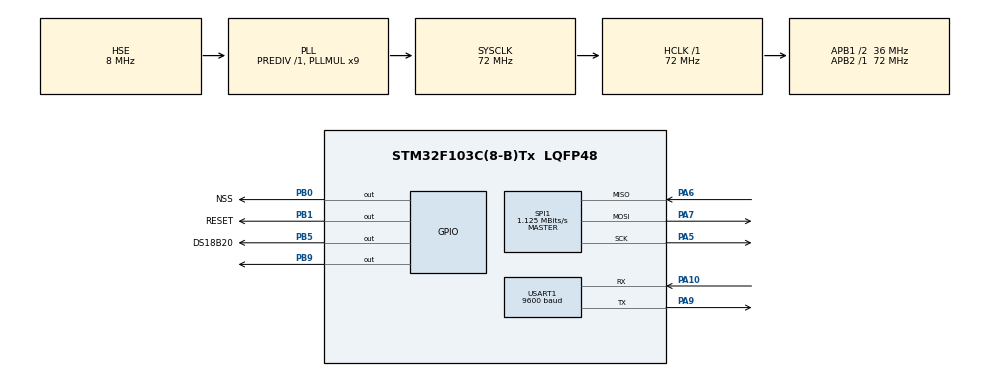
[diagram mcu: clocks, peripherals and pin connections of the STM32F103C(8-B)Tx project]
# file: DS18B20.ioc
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Mcu.Family=STM32F1
Mcu.Name=STM32F103C(8-B)Tx
Mcu.Package=LQFP48
NVIC.PriorityGroup=NVIC_PRIORITYGROUP_4
PA10.Mode=Asynchronous
PA10.Signal=USART1_RX
PA13.Mode=Serial_Wire
PA13.Signal=SYS_JTMS-SWDIO
PA14.Mode=Serial_Wire
PA14.Signal=SYS_JTCK-SWCLK
PA5.Mode=Full_Duplex_Master
PA5.Signal=SPI1_SCK
PA6.Mode=Full_Duplex_Master
PA6.Signal=SPI1_MISO
PA7.Mode=Full_Duplex_Master
PA7.Signal=SPI1_MOSI
PA9.Mode=Asynchronous
PA9.Signal=USART1_TX
PB0.GPIO_Label=NSS
PB0.Signal=GPIO_Output
PB1.GPIO_Label=RESET
PB1.Signal=GPIO_Output
PB5.GPIO_Label=DS18B20
PB5.Signal=GPIO_Output
PB9.Signal=GPIO_Output
PD0-OSC_IN.Mode=HSE-External-Oscillator
PD0-OSC_IN.Signal=RCC_OSC_IN
PD1-OSC_OUT.Mode=HSE-External-Oscillator
PD1-OSC_OUT.Signal=RCC_OSC_OUT
ProjectManager.HeapSize=0x200
ProjectManager.StackSize=0x400
ProjectManager.TargetToolchain=MDK-ARM V5
RCC.AHBFreq_Value=72000000
RCC.APB1CLKDivider=RCC_HCLK_DIV2
RCC.APB1Freq_Value=36000000
RCC.APB1TimFreq_Value=72000000
RCC.APB2Freq_Value=72000000
RCC.APB2TimFreq_Value=72000000
RCC.HCLKFreq_Value=72000000
RCC.PLLMUL=RCC_PLL_MUL9
RCC.PLLSourceVirtual=RCC_PLLSOURCE_HSE
RCC.SYSCLKFreq_VALUE=72000000
RCC.SYSCLKSource=RCC_SYSCLKSOURCE_PLLCLK
RCC.USBFreq_Value=72000000
SPI1.BaudRatePrescaler=SPI_BAUDRATEPRESCALER_64
SPI1.CalculateBaudRate=1.125 MBits/s
SPI1.Direction=SPI_DIRECTION_2LINES
SPI1.Mode=SPI_MODE_MASTER
SPI1.VirtualType=VM_MASTER
TIM4.Prescaler=71
USART1.BaudRate=9600
USART1.VirtualMode=VM_ASYNC
VP_TIM4_VS_ClockSourceINT.Mode=Internal
board=custom

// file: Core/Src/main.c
/* USER CODE BEGIN Header */
/**
  ******************************************************************************
  * @file           : main.c
  * @brief          : Main program body
  ******************************************************************************
  * @attention
  *
  * <h2><center>&copy; Copyright (c) 2022 STMicroelectronics.
  * All rights reserved.</center></h2>
  *
  * This software component is licensed by ST under BSD 3-Clause license,
  * the "License"; You may not use this file except in compliance with the
  * License. You may obtain a copy of the License at:
  *                        opensource.org/licenses/BSD-3-Clause
  *
  ******************************************************************************
  */
/* USER CODE END Header */
#include "main.h"

/* USER CODE BEGIN Includes */

#include "stdio.h"
#include "string.h"
#include "ds18b20.h"
#include "delay.h"
#include "lora.h"

/* USER CODE END Includes */

SPI_HandleTypeDef hspi1;

TIM_HandleTypeDef htim4;

UART_HandleTypeDef huart1;

void SystemClock_Config(void);
static void MX_GPIO_Init(void);
static void MX_TIM4_Init(void);
static void MX_USART1_UART_Init(void);
static void MX_SPI1_Init(void);

/* USER CODE BEGIN 0 */
const char LORA_ID[] = "11111111 ";
char msg[64];
uint8_t TxData[64];

unsigned int temp = 0;
uint8_t int_part, decimal_part;
uint8_t chuc, dvi;
//uint8_t temp = 0;
//uint8_t int_part, decimal_part;
//uint8_t chuc, dvi;
char temp1[2];
char temp2[2];
char temp3[2];
//int fputc(int c, FILE * stream)
//{
//	HAL_UART_Transmit(&huart21, (uint8_t *)&c, 1, 100);
//	return 0;
//}
/* USER CODE END 0 */

int main(void)
{

  /* MCU Configuration--------------------------------------------------------*/

  /* Reset of all peripherals, Initializes the Flash interface and the Systick. */
  HAL_Init();

  /* Configure the system clock */
  SystemClock_Config();

  /* Initialize all configured peripherals */
  MX_GPIO_Init();
  MX_TIM4_Init();
  MX_USART1_UART_Init();
  MX_SPI1_Init();
  /* USER CODE BEGIN 2 */
	delay_init(&htim4);
	    lora_pins_t lora_pins = {
        .nss.port = LORA_SS_PORT,
        .nss.pin = LORA_SS_PIN,
        .reset.port = LORA_RESET_PORT,
        .reset.pin = LORA_RESET_PIN,
        .spi = &hspi1,
    };
    // Structure variable for lora
    lora_t lora = {
        .pin = &lora_pins,
        .frequency = FREQ_433MHZ,
        .power = SX1278_POWER_17DBM,
        .LoRa_SF = SX1278_LORA_SF_7,
        .LoRa_BW = SX1278_LORA_BW_125KHZ,
        .LoRa_CR = SX1278_LORA_CR_4_5,
        .LoRa_CRC_sum = SX1278_LORA_CRC_EN,
    };

    sprintf(msg, "Configuring LoRa module\r\n");
    HAL_UART_Transmit(&huart1, (uint8_t *)msg, strlen(msg), 1000);

    while (lora_init(&lora))
    { // Initialize the lora module
        sprintf(msg, "LoRa Failed\r\n");
        HAL_UART_Transmit(&huart1, (uint8_t *)msg, strlen(msg), 1000);
        HAL_Delay(1000);
				sprintf(msg, "Wait Lora...\r\n");
        HAL_UART_Transmit(&huart1, (uint8_t *)msg, strlen(msg), 1000);
        HAL_Delay(1000);
    }
    HAL_Delay(1000);
    sprintf(msg, "Done configuring LoRaModule\r\n");

    HAL_GPIO_WritePin(GPIOB, GPIO_PIN_9,0);
		HAL_Delay(100);
		HAL_GPIO_WritePin(GPIOB, GPIO_PIN_9,1);
		HAL_Delay(100);
		HAL_GPIO_WritePin(GPIOB, GPIO_PIN_9,0);
		HAL_Delay(100);
		HAL_GPIO_WritePin(GPIOB, GPIO_PIN_9,1);
		HAL_Delay(100);
		HAL_GPIO_WritePin(GPIOB, GPIO_PIN_9,0);
		HAL_Delay(100);
		HAL_GPIO_WritePin(GPIOB, GPIO_PIN_9,1);
		HAL_Delay(100);
		HAL_GPIO_WritePin(GPIOB, GPIO_PIN_9,0);
		HAL_Delay(100);
		HAL_GPIO_WritePin(GPIOB, GPIO_PIN_9,1);
		HAL_Delay(100);
		HAL_GPIO_WritePin(GPIOB, GPIO_PIN_9,0);
		HAL_Delay(100);
//	HAL_UART_Transmit(&huart1, (uint8_t *)temp1, sizeof(temp1), 100);
  /* USER CODE END 2 */

  /* Infinite loop */
  while (1)
  {

    /* USER CODE BEGIN 3 */
		temp = temperature();
		int_part = temp >> 4;
		chuc = int_part  / 10;
		dvi = int_part % 10;
		decimal_part = temp & 0x000F;
		decimal_part = decimal_part*10/16;
		sprintf(temp1, "%d", chuc);
		sprintf(temp2, "%d", dvi);
		sprintf(temp3, "%d", decimal_part);
		HAL_UART_Transmit(&huart1, (uint8_t *)temp1, sizeof(temp1)-1, 100);
		HAL_Delay(1);
		HAL_UART_Transmit(&huart1, (uint8_t *)temp2, sizeof(temp2)-1, 100);
		HAL_Delay(1);
		HAL_UART_Transmit(&huart1, (uint8_t *)temp3, sizeof(temp3)-1, 100);

		sprintf((char*)TxData, "%s%d%d,%d*C",LORA_ID,chuc,dvi,decimal_part);
		lora_tx_init(&lora);

		lora_transmit(&lora,TxData,14, 100);

		if(chuc< 3)
		HAL_GPIO_WritePin(GPIOB, GPIO_PIN_9,1);
		else if (chuc >= 3)
		HAL_GPIO_WritePin(GPIOB, GPIO_PIN_9,0);

		HAL_Delay(1000);
		if(chuc>= 4)
		HAL_GPIO_WritePin(GPIOB, GPIO_PIN_9,1);
		HAL_Delay(1000);
  }
  /* USER CODE END 3 */
}

void SystemClock_Config(void)
{
  RCC_OscInitTypeDef RCC_OscInitStruct = {0};
  RCC_ClkInitTypeDef RCC_ClkInitStruct = {0};

  /** Initializes the RCC Oscillators according to the specified parameters
  * in the RCC_OscInitTypeDef structure.
  */
  RCC_OscInitStruct.OscillatorType = RCC_OSCILLATORTYPE_HSE;
  RCC_OscInitStruct.HSEState = RCC_HSE_ON;
  RCC_OscInitStruct.HSEPredivValue = RCC_HSE_PREDIV_DIV1;
  RCC_OscInitStruct.HSIState = RCC_HSI_ON;
  RCC_OscInitStruct.PLL.PLLState = RCC_PLL_ON;
  RCC_OscInitStruct.PLL.PLLSource = RCC_PLLSOURCE_HSE;
  RCC_OscInitStruct.PLL.PLLMUL = RCC_PLL_MUL9;
  if (HAL_RCC_OscConfig(&RCC_OscInitStruct) != HAL_OK)
  {
    Error_Handler();
  }

  /** Initializes the CPU, AHB and APB buses clocks
  */
  RCC_ClkInitStruct.ClockType = RCC_CLOCKTYPE_HCLK|RCC_CLOCKTYPE_SYSCLK
                              |RCC_CLOCKTYPE_PCLK1|RCC_CLOCKTYPE_PCLK2;
  RCC_ClkInitStruct.SYSCLKSource = RCC_SYSCLKSOURCE_PLLCLK;
  RCC_ClkInitStruct.AHBCLKDivider = RCC_SYSCLK_DIV1;
  RCC_ClkInitStruct.APB1CLKDivider = RCC_HCLK_DIV2;
  RCC_ClkInitStruct.APB2CLKDivider = RCC_HCLK_DIV1;

  if (HAL_RCC_ClockConfig(&RCC_ClkInitStruct, FLASH_LATENCY_2) != HAL_OK)
  {
    Error_Handler();
  }
}

static void MX_SPI1_Init(void)
{

  /* SPI1 parameter configuration*/
  hspi1.Instance = SPI1;
  hspi1.Init.Mode = SPI_MODE_MASTER;
  hspi1.Init.Direction = SPI_DIRECTION_2LINES;
  hspi1.Init.DataSize = SPI_DATASIZE_8BIT;
  hspi1.Init.CLKPolarity = SPI_POLARITY_LOW;
  hspi1.Init.CLKPhase = SPI_PHASE_1EDGE;
  hspi1.Init.NSS = SPI_NSS_SOFT;
  hspi1.Init.BaudRatePrescaler = SPI_BAUDRATEPRESCALER_64;
  hspi1.Init.FirstBit = SPI_FIRSTBIT_MSB;
  hspi1.Init.TIMode = SPI_TIMODE_DISABLE;
  hspi1.Init.CRCCalculation = SPI_CRCCALCULATION_DISABLE;
  hspi1.Init.CRCPolynomial = 10;
  if (HAL_SPI_Init(&hspi1) != HAL_OK)
  {
    Error_Handler();
  }

}

static void MX_TIM4_Init(void)
{

  TIM_ClockConfigTypeDef sClockSourceConfig = {0};
  TIM_MasterConfigTypeDef sMasterConfig = {0};

  htim4.Instance = TIM4;
  htim4.Init.Prescaler = 71;
  htim4.Init.CounterMode = TIM_COUNTERMODE_UP;
  htim4.Init.Period = 65535;
  htim4.Init.ClockDivision = TIM_CLOCKDIVISION_DIV1;
  htim4.Init.AutoReloadPreload = TIM_AUTORELOAD_PRELOAD_DISABLE;
  if (HAL_TIM_Base_Init(&htim4) != HAL_OK)
  {
    Error_Handler();
  }
  sClockSourceConfig.ClockSource = TIM_CLOCKSOURCE_INTERNAL;
  if (HAL_TIM_ConfigClockSource(&htim4, &sClockSourceConfig) != HAL_OK)
  {
    Error_Handler();
  }
  sMasterConfig.MasterOutputTrigger = TIM_TRGO_RESET;
  sMasterConfig.MasterSlaveMode = TIM_MASTERSLAVEMODE_DISABLE;
  if (HAL_TIMEx_MasterConfigSynchronization(&htim4, &sMasterConfig) != HAL_OK)
  {
    Error_Handler();
  }

}

static void MX_USART1_UART_Init(void)
{

  huart1.Instance = USART1;
  huart1.Init.BaudRate = 9600;
  huart1.Init.WordLength = UART_WORDLENGTH_8B;
  huart1.Init.StopBits = UART_STOPBITS_1;
  huart1.Init.Parity = UART_PARITY_NONE;
  huart1.Init.Mode = UART_MODE_TX_RX;
  huart1.Init.HwFlowCtl = UART_HWCONTROL_NONE;
  huart1.Init.OverSampling = UART_OVERSAMPLING_16;
  if (HAL_UART_Init(&huart1) != HAL_OK)
  {
    Error_Handler();
  }

}

static void MX_GPIO_Init(void)
{
  GPIO_InitTypeDef GPIO_InitStruct = {0};

  /* GPIO Ports Clock Enable */
  __HAL_RCC_GPIOD_CLK_ENABLE();
  __HAL_RCC_GPIOA_CLK_ENABLE();
  __HAL_RCC_GPIOB_CLK_ENABLE();

  /*Configure GPIO pin Output Level */
  HAL_GPIO_WritePin(GPIOB, NSS_Pin|RESET_Pin|DS18B20_Pin|GPIO_PIN_9, GPIO_PIN_RESET);

  /*Configure GPIO pins : NSS_Pin RESET_Pin DS18B20_Pin PB9 */
  GPIO_InitStruct.Pin = NSS_Pin|RESET_Pin|DS18B20_Pin|GPIO_PIN_9;
  GPIO_InitStruct.Mode = GPIO_MODE_OUTPUT_PP;
  GPIO_InitStruct.Pull = GPIO_NOPULL;
  GPIO_InitStruct.Speed = GPIO_SPEED_FREQ_LOW;
  HAL_GPIO_Init(GPIOB, &GPIO_InitStruct);

}

void Error_Handler(void)
{
}
